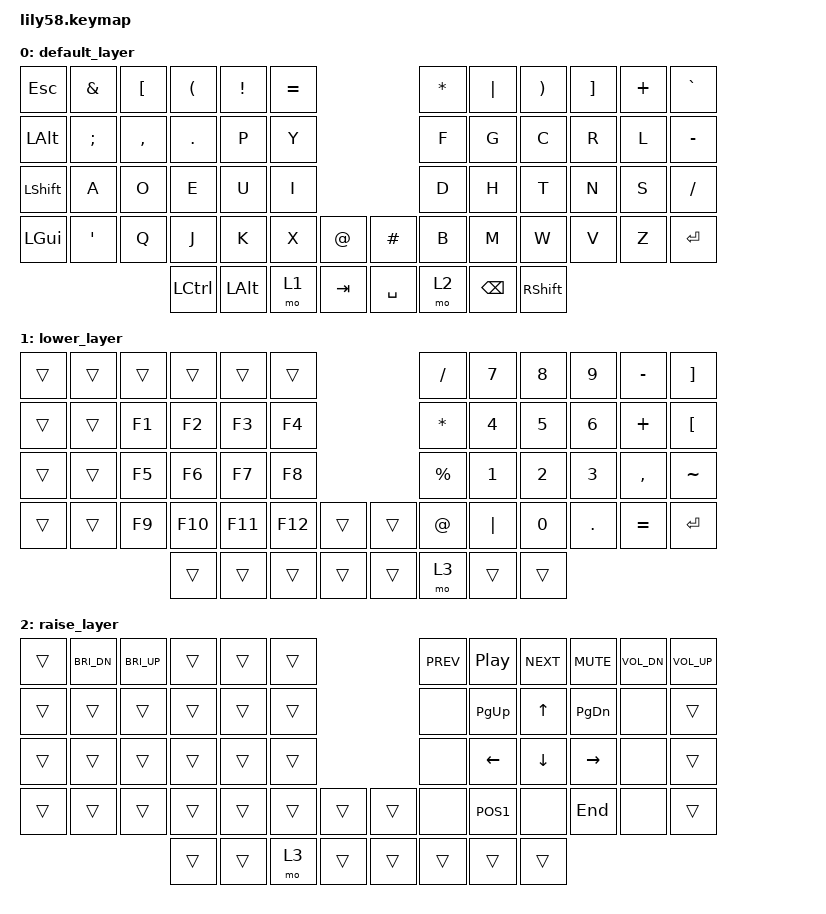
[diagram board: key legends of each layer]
/*
 * Copyright (c) 2020 The ZMK Contributors
 *
 * SPDX-License-Identifier: MIT
 */

#include <behaviors.dtsi>
#include <dt-bindings/zmk/keys.h>
#include <dt-bindings/zmk/bt.h>
#include <dt-bindings/zmk/ext_power.h>

/ {
    keymap {
        compatible = "zmk,keymap";

    default_layer {
        bindings = <
&kp ESC   &kp AMPS &kp LBKT  &kp LPAR  &kp EXCL &kp EQUAL                     &kp ASTRK &kp PIPE &kp RPAR &kp RBKT &kp PLUS &kp GRAVE 
&kp LALT  &kp SEMI &kp COMMA &kp DOT   &kp P    &kp Y                         &kp F     &kp G    &kp C    &kp R    &kp L    &kp MINUS
&kp LSHFT &kp A    &kp O     &kp E     &kp U    &kp I                         &kp D     &kp H    &kp T    &kp N    &kp S    &kp SLASH 
&kp LGUI  &kp SQT  &kp Q     &kp J     &kp K    &kp X     &kp AT    &kp HASH  &kp B     &kp M    &kp W    &kp V    &kp Z    &kp ENTER 
                             &kp LCTRL &kp LALT &mo 1     &kp TAB   &kp SPACE &mo 2     &kp BSPC &kp RSHFT
        >;
    };
    lower_layer {
        bindings = <
&trans  &trans  &trans  &trans   &trans   &trans                     &kp FSLH   &kp N7    &kp N8  &kp N9  &kp MINUS  &kp RBKT
&trans  &trans  &kp F1  &kp F2   &kp F3   &kp F4                     &kp ASTRK  &kp N4    &kp N5  &kp N6  &kp PLUS   &kp LBKT
&trans  &trans  &kp F5  &kp F6   &kp F7   &kp F8                     &kp PRCNT  &kp N1    &kp N2  &kp N3  &kp COMMA  &kp TILDE
&trans  &trans  &kp F9  &kp F10  &kp F11  &kp F12  &trans    &trans  &kp AT     &kp PIPE  &kp N0  &kp DOT &kp EQUAL  &kp ENTER
                        &trans   &trans   &trans   &trans    &trans  &mo 3      &trans    &trans
        >;
    };
    raise_layer {
        bindings = <
&trans  &kp C_BRI_DN  &kp C_BRI_UP  &trans  &trans  &trans                    &kp C_PREV  &kp C_PP   &kp C_NEXT  &kp C_MUTE  &kp C_VOL_DN  &kp C_VOL_UP
&trans  &trans        &trans        &trans  &trans  &trans                    &none       &kp PG_UP  &kp UP      &kp PG_DN   &none         &trans 
&trans  &trans        &trans        &trans  &trans  &trans                    &none       &kp LEFT   &kp DOWN    &kp RIGHT   &none         &trans
&trans  &trans        &trans        &trans  &trans  &trans  &trans    &trans  &none       &kp POS1   &none       &kp END     &none         &trans 
                                    &trans  &trans  &mo 3   &trans    &trans  &trans      &trans     &trans
        >;
    };
};
};
